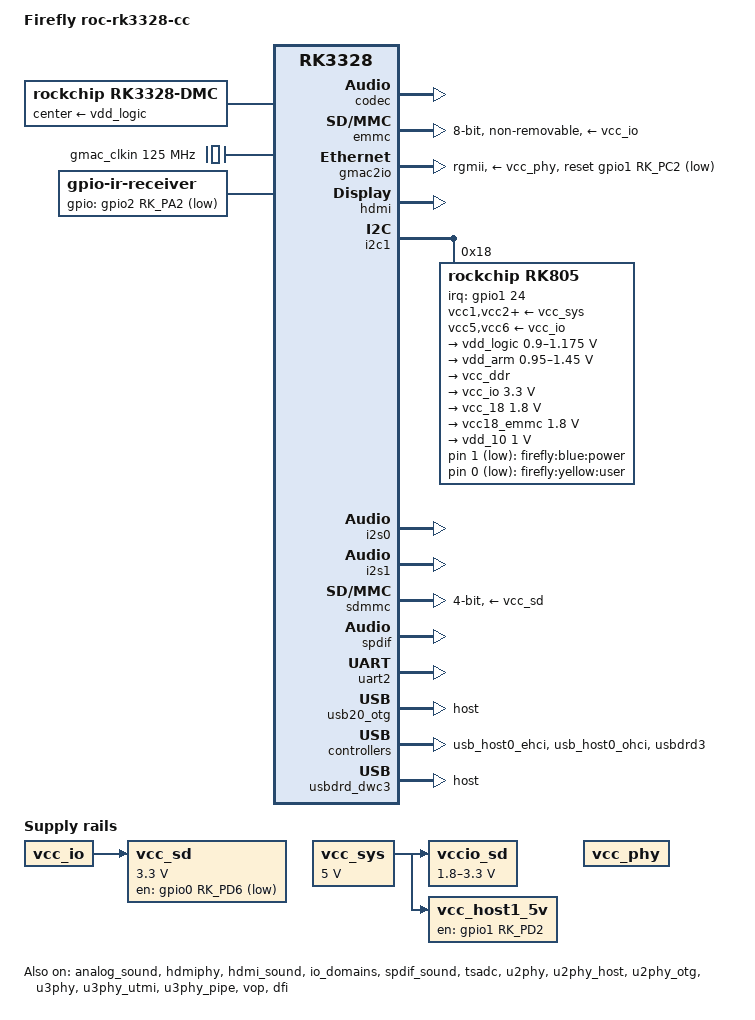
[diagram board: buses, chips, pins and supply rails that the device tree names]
// SPDX-License-Identifier: (GPL-2.0+ OR MIT)
/*
 * Copyright (c) 2017 T-Chip Intelligent Technology Co., Ltd
 */

/dts-v1/;
#include "rk3328-dram-renegade-timing.dtsi"
#include "rk3328.dtsi"

/ {
	model = "Firefly roc-rk3328-cc";
	compatible = "firefly,roc-rk3328-cc", "rockchip,rk3328";

	chosen {
		stdout-path = "serial2:1500000n8";
	};

	dfi: dfi@ff790000 {
		reg = <0x00 0xff790000 0x00 0x400>;
		compatible = "rockchip,rk3328-dfi";
		rockchip,grf = <&grf>;
		status = "okay";
	};

	dmc: dmc {
		compatible = "rockchip,rk3328-dmc";
		center-supply = <&vdd_logic>;
		devfreq-events = <&dfi>;
		clocks = <&cru SCLK_DDRCLK>;
		clock-names = "dmc_clk";
		operating-points-v2 = <&dmc_opp_table>;
		ddr_timing = <&ddr_timing>;
		upthreshold = <40>;
		downdifferential = <20>;
		auto-min-freq = <840000>;
		auto-freq-en = <0>;
		#cooling-cells = <2>;
		status = "okay";

		ddr_power_model: ddr_power_model {
			compatible = "ddr_power_model";
			dynamic-power-coefficient = <120>;
			static-power-coefficient = <200>;
			ts = <32000 4700 (-80) 2>;
			thermal-zone = "soc-thermal";
		};
	};

	dmc_opp_table: dmc-opp-table {
		compatible = "operating-points-v2";

		rockchip,leakage-voltage-sel = <
			1   10    0
			11  254   1
		>;
		nvmem-cells = <&logic_leakage>;
		nvmem-cell-names = "ddr_leakage";

		opp-786000000 {
			opp-hz = /bits/ 64 <786000000>;
			opp-microvolt = <1075000>;
			opp-microvolt-L0 = <1075000>;
			opp-microvolt-L1 = <1050000>;
		};
		opp-798000000 {
			opp-hz = /bits/ 64 <798000000>;
			opp-microvolt = <1075000>;
			opp-microvolt-L0 = <1075000>;
			opp-microvolt-L1 = <1050000>;
		};
		opp-840000000 {
			opp-hz = /bits/ 64 <840000000>;
			opp-microvolt = <1075000>;
			opp-microvolt-L0 = <1075000>;
			opp-microvolt-L1 = <1050000>;
		};
		opp-924000000 {
			opp-hz = /bits/ 64 <924000000>;
			opp-microvolt = <1100000>;
			opp-microvolt-L0 = <1100000>;
			opp-microvolt-L1 = <1075000>;
		};
		opp-1068000000 {
			opp-hz = /bits/ 64 <1068000000>;
			opp-microvolt = <1175000>;
			opp-microvolt-L0 = <1175000>;
			opp-microvolt-L1 = <1150000>;
		};
	};

	gmac_clkin: external-gmac-clock {
		compatible = "fixed-clock";
		clock-frequency = <125000000>;
		clock-output-names = "gmac_clkin";
		#clock-cells = <0>;
	};

	vcc_sd: sdmmc-regulator {
		compatible = "regulator-fixed";
		gpio = <&gpio0 RK_PD6 GPIO_ACTIVE_HIGH>;
		pinctrl-names = "default";
		pinctrl-0 = <&sdmmc0m1_pin>;
		regulator-boot-on;
		regulator-name = "vcc_sd";
		regulator-min-microvolt = <3300000>;
		regulator-max-microvolt = <3300000>;
		vin-supply = <&vcc_io>;
	};

	vccio_sd: sdmmcio-regulator {
		compatible = "regulator-gpio";
		gpios = <&grf_gpio 0 GPIO_ACTIVE_HIGH>;
		states = <1800000 0x1
			  3300000 0x0>;
		regulator-name = "vccio_sd";
		regulator-type = "voltage";
		regulator-min-microvolt = <1800000>;
		regulator-max-microvolt = <3300000>;
		regulator-always-on;
		vin-supply = <&vcc_sys>;
	};

	vcc_host1_5v: vcc_otg_5v: vcc-host1-5v-regulator {
		compatible = "regulator-fixed";
		enable-active-high;
		gpio = <&gpio1 RK_PD2 GPIO_ACTIVE_HIGH>;
		pinctrl-names = "default";
		pinctrl-0 = <&usb20_host_drv>;
		regulator-name = "vcc_host1_5v";
		regulator-always-on;
		vin-supply = <&vcc_sys>;
	};

	vcc_sys: vcc-sys {
		compatible = "regulator-fixed";
		regulator-name = "vcc_sys";
		regulator-min-microvolt = <5000000>;
		regulator-max-microvolt = <5000000>;
	};

	vcc_phy: vcc-phy-regulator {
		compatible = "regulator-fixed";
		regulator-name = "vcc_phy";
		regulator-always-on;
		regulator-boot-on;
	};

	leds {
		compatible = "gpio-leds";

		power_led: led-0 {
			label = "firefly:blue:power";
			linux,default-trigger = "heartbeat";
			gpios = <&rk805 1 GPIO_ACTIVE_LOW>;
			default-state = "on";
			mode = <0x23>;
		};

		user_led: led-1 {
			label = "firefly:yellow:user";
			linux,default-trigger = "mmc1";
			gpios = <&rk805 0 GPIO_ACTIVE_LOW>;
			default-state = "off";
			mode = <0x05>;
		};
	};

	ir-receiver {
		compatible = "gpio-ir-receiver";
		gpios = <&gpio2 RK_PA2 GPIO_ACTIVE_LOW>;
		pinctrl-0 = <&ir_int>;
		pinctrl-names = "default";
	};
};

&analog_sound {
	simple-audio-card,name = "TRS Jack";
	status = "okay";
};

&codec {
	status = "okay";
};


&cpu0 {
	cpu-supply = <&vdd_arm>;
};

&cpu1 {
	cpu-supply = <&vdd_arm>;
};

&cpu2 {
	cpu-supply = <&vdd_arm>;
};

&cpu3 {
	cpu-supply = <&vdd_arm>;
};

&emmc {
	bus-width = <8>;
	cap-mmc-highspeed;
	mmc-ddr-1_8v;
	mmc-hs200-1_8v;
	non-removable;
	pinctrl-names = "default";
	pinctrl-0 = <&emmc_clk &emmc_cmd &emmc_bus8>;
	vmmc-supply = <&vcc_io>;
	vqmmc-supply = <&vcc18_emmc>;
	status = "okay";
};

&gmac2io {
	assigned-clocks = <&cru SCLK_MAC2IO>, <&cru SCLK_MAC2IO_EXT>;
	assigned-clock-parents = <&gmac_clkin>, <&gmac_clkin>;
	clock_in_out = "input";
	phy-supply = <&vcc_phy>;
	phy-mode = "rgmii";
	pinctrl-names = "default";
	pinctrl-0 = <&rgmiim1_pins>;
	snps,aal;
	snps,reset-gpio = <&gpio1 RK_PC2 GPIO_ACTIVE_LOW>;
	snps,reset-active-low;
	snps,reset-delays-us = <0 10000 50000>;
	snps,rxpbl = <0x4>;
	snps,txpbl = <0x4>;
	tx_delay = <0x24>;
	rx_delay = <0x18>;
	status = "okay";
};

&gpu {
	mali-supply = <&vdd_logic>;
};

&hdmi {
	status = "okay";
};

&hdmiphy {
	status = "okay";
};

&hdmi_sound {
	status = "okay";
};

&i2c1 {
	status = "okay";

	rk805: pmic@18 {
		compatible = "rockchip,rk805";
		reg = <0x18>;
		interrupt-parent = <&gpio1>;
		interrupts = <24 IRQ_TYPE_LEVEL_LOW>;
		#clock-cells = <1>;
		clock-output-names = "xin32k", "rk805-clkout2";
		gpio-controller;
		#gpio-cells = <2>;
		pinctrl-names = "default";
		pinctrl-0 = <&pmic_int_l>;
		rockchip,system-power-controller;
		wakeup-source;

		vcc1-supply = <&vcc_sys>;
		vcc2-supply = <&vcc_sys>;
		vcc3-supply = <&vcc_sys>;
		vcc4-supply = <&vcc_sys>;
		vcc5-supply = <&vcc_io>;
		vcc6-supply = <&vcc_io>;

		regulators {
			vdd_logic: DCDC_REG1 {
				regulator-name = "vdd_logic";
				regulator-min-microvolt = <900000>;
				regulator-max-microvolt = <1175000>;
				regulator-ramp-delay = <12500>;
				regulator-always-on;
				regulator-boot-on;
				regulator-state-mem {
					regulator-on-in-suspend;
					regulator-suspend-microvolt = <1000000>;
				};
			};

			vdd_arm: DCDC_REG2 {
				regulator-name = "vdd_arm";
				regulator-min-microvolt = <950000>;
				regulator-max-microvolt = <1450000>;
				regulator-ramp-delay = <12500>;
				regulator-always-on;
				regulator-boot-on;
				regulator-state-mem {
					regulator-on-in-suspend;
					regulator-suspend-microvolt = <950000>;
				};
			};

			vcc_ddr: DCDC_REG3 {
				regulator-name = "vcc_ddr";
				regulator-always-on;
				regulator-boot-on;
				regulator-state-mem {
					regulator-on-in-suspend;
				};
			};

			vcc_io: DCDC_REG4 {
				regulator-name = "vcc_io";
				regulator-min-microvolt = <3300000>;
				regulator-max-microvolt = <3300000>;
				regulator-always-on;
				regulator-boot-on;
				regulator-state-mem {
					regulator-on-in-suspend;
					regulator-suspend-microvolt = <3300000>;
				};
			};

			vcc_18: LDO_REG1 {
				regulator-name = "vcc_18";
				regulator-min-microvolt = <1800000>;
				regulator-max-microvolt = <1800000>;
				regulator-always-on;
				regulator-boot-on;
				regulator-state-mem {
					regulator-on-in-suspend;
					regulator-suspend-microvolt = <1800000>;
				};
			};

			vcc18_emmc: LDO_REG2 {
				regulator-name = "vcc18_emmc";
				regulator-min-microvolt = <1800000>;
				regulator-max-microvolt = <1800000>;
				regulator-always-on;
				regulator-boot-on;
				regulator-state-mem {
					regulator-on-in-suspend;
					regulator-suspend-microvolt = <1800000>;
				};
			};

			vdd_10: LDO_REG3 {
				regulator-name = "vdd_10";
				regulator-min-microvolt = <1000000>;
				regulator-max-microvolt = <1000000>;
				regulator-always-on;
				regulator-boot-on;
				regulator-state-mem {
					regulator-on-in-suspend;
					regulator-suspend-microvolt = <1000000>;
				};
			};
		};
	};
};

&i2s0 {
	status = "okay";
};

&i2s1 {
	status = "okay";
};

&io_domains {
	status = "okay";

	vccio1-supply = <&vcc_io>;
	vccio2-supply = <&vcc18_emmc>;
	vccio3-supply = <&vccio_sd>;
	vccio4-supply = <&vcc_18>;
	vccio5-supply = <&vcc_io>;
	vccio6-supply = <&vcc_io>;
	pmuio-supply = <&vcc_io>;
};

&pinctrl {
	ir {
		ir_int: ir-int {
			rockchip,pins = <2 RK_PA2 RK_FUNC_GPIO &pcfg_pull_none>;
		};
	};

	pmic {
		pmic_int_l: pmic-int-l {
			rockchip,pins = <1 RK_PD0 RK_FUNC_GPIO &pcfg_pull_up>;
		};
	};

	usb2 {
		usb20_host_drv: usb20-host-drv {
			rockchip,pins = <1 RK_PD2 RK_FUNC_GPIO &pcfg_pull_none>;
		};
	};
};

&sdmmc {
	bus-width = <4>;
	cap-mmc-highspeed;
	cap-sd-highspeed;
	disable-wp;
	max-frequency = <150000000>;
	pinctrl-names = "default";
	pinctrl-0 = <&sdmmc0_clk &sdmmc0_cmd &sdmmc0_dectn &sdmmc0_bus4>;
	sd-uhs-sdr12;
	sd-uhs-sdr25;
	sd-uhs-sdr50;
	sd-uhs-sdr104;
	vmmc-supply = <&vcc_sd>;
	vqmmc-supply = <&vccio_sd>;
	status = "okay";
};

&spdif {
	pinctrl-0 = <&spdifm0_tx>;
	status = "okay";
};

&spdif_out {
	status = "okay";
};

&spdif_sound {
	status = "okay";
};

&tsadc {
	rockchip,hw-tshut-mode = <0>;
	rockchip,hw-tshut-polarity = <0>;
	status = "okay";
};

&u2phy {
	status = "okay";
};

&u2phy_host {
	status = "okay";
};

&u2phy_otg {
	status = "okay";
};

&u3phy {
	status = "okay";
};

&u3phy_utmi {
	status = "okay";
};

&u3phy_pipe {
	status = "okay";
};

&uart2 {
	status = "okay";
};

&usb20_otg {
	dr_mode = "host";
	status = "okay";
};

&usb_host0_ehci {
	status = "okay";
};

&usb_host0_ohci {
	status = "okay";
};

&usbdrd3 {
	status = "okay";
};

&usbdrd_dwc3 {
	dr_mode = "host";
	status = "okay";
};

&vop {
	status = "okay";
};

&vop_mmu {
	status = "okay";
};
